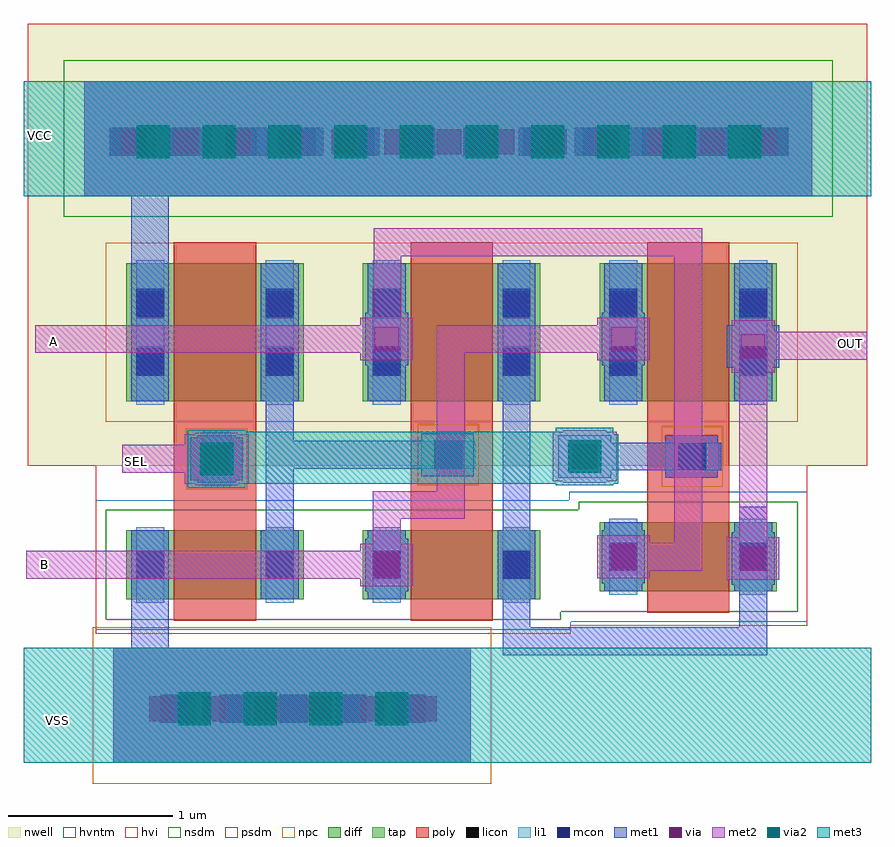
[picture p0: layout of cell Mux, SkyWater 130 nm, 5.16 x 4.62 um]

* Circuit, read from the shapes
.subckt Mux A B OUT SEL VCC VSS
XM1 n1 SEL VSS VSS sky130_fd_pr__nfet_g5v0d10v5 w=0.42 l=0.5
XM2 OUT n1 B VSS sky130_fd_pr__nfet_g5v0d10v5 w=0.42 l=0.5
XM3 OUT SEL A VSS sky130_fd_pr__nfet_g5v0d10v5 w=0.42 l=0.5
XM4 n1 SEL VCC VCC sky130_fd_pr__pfet_g5v0d10v5 w=0.84 l=0.5
XM5 OUT n1 A VCC sky130_fd_pr__pfet_g5v0d10v5 w=0.84 l=0.5
XM6 OUT SEL B VCC sky130_fd_pr__pfet_g5v0d10v5 w=0.84 l=0.5
.ends

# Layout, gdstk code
import gdstk
lib = gdstk.Library(unit=1e-6, precision=1e-09)
def R(c, l, rs):  # rectangles x0, y0, x1, y1
    for r in rs: c.add(gdstk.rectangle(r[:2], r[2:], *l))
def A(c, l, x, y, w, h, nx, ny, dx, dy):  # array of equal rectangles
    R(c, l, [(x+i*dx, y+j*dy, x+i*dx+w, y+j*dy+h) for i in range(nx) for j in range(ny)])
nwell = (64, 20)
diff = (65, 20)
tap = (65, 44)
poly = (66, 20)
licon = (66, 44)
li1 = (67, 20)
mcon = (67, 44)
met1 = (68, 20)
via = (68, 44)
met2 = (69, 20)
via2 = (69, 44)
met3 = (70, 20)
hvi = (75, 20)
nsdm = (93, 44)
psdm = (94, 20)
npc = (95, 20)
hvntm = (125, 20)

sky130_fd_pr__pfet_g5v0d = lib.new_cell('sky130_fd_pr__pfet_g5v0d10v5_AWMFT3')
R(sky130_fd_pr__pfet_g5v0d, nwell, [(-0.72,-0.73,0.72,0.73)])
R(sky130_fd_pr__pfet_g5v0d, diff, [(-0.54,-0.42,0.54,0.42)])
R(sky130_fd_pr__pfet_g5v0d, poly, [(-0.25,-0.55,0.25,0.55)])
R(sky130_fd_pr__pfet_g5v0d, licon, [(-0.48,-0.255,-0.31,-0.085), (0.31,-0.255,0.48,-0.085), (-0.48,0.085,-0.31,0.255), (0.31,0.085,0.48,0.255)])
R(sky130_fd_pr__pfet_g5v0d, li1, [(-0.48,-0.44,-0.31,0.44), (0.31,-0.44,0.48,0.44)])
R(sky130_fd_pr__pfet_g5v0d, mcon, [(-0.48,-0.265,-0.31,-0.095), (0.31,-0.265,0.48,-0.095), (-0.48,0.095,-0.31,0.265), (0.31,0.095,0.48,0.265)])
R(sky130_fd_pr__pfet_g5v0d, met1, [(-0.51,-0.42,-0.28,0.42), (0.28,-0.42,0.51,0.42)])
R(sky130_fd_pr__pfet_g5v0d, hvi, [(-0.72,-0.73,0.72,-0.605), (-0.725,-0.605,0.725,0.605), (-0.72,0.605,0.72,0.73)])
R(sky130_fd_pr__pfet_g5v0d, psdm, [(-0.665,-0.545,0.665,0.545)])

sky130_fd_pr__nfet_g5v0d = lib.new_cell('sky130_fd_pr__nfet_g5v0d10v5_NQZZCX')
R(sky130_fd_pr__nfet_g5v0d, diff, [(-0.54,-0.21,0.54,0.21)])
R(sky130_fd_pr__nfet_g5v0d, poly, [(-0.25,-0.34,0.25,0.34)])
R(sky130_fd_pr__nfet_g5v0d, licon, [(-0.48,-0.085,-0.31,0.085), (0.31,-0.085,0.48,0.085)])
R(sky130_fd_pr__nfet_g5v0d, li1, [(-0.48,-0.23,-0.31,0.23), (0.31,-0.23,0.48,0.23)])
R(sky130_fd_pr__nfet_g5v0d, mcon, [(-0.48,-0.085,-0.31,0.085), (0.31,-0.085,0.48,0.085)])
R(sky130_fd_pr__nfet_g5v0d, met1, [(-0.51,-0.21,-0.28,0.21), (0.28,-0.21,0.51,0.21)])
R(sky130_fd_pr__nfet_g5v0d, hvi, [(-0.725,-0.42,0.725,0.42)])
R(sky130_fd_pr__nfet_g5v0d, nsdm, [(-0.665,-0.335,0.665,0.335)])
R(sky130_fd_pr__nfet_g5v0d, hvntm, [(-0.725,-0.395,0.725,0.395)])

mux = lib.new_cell('Mux')
R(mux, nwell, [(38.775,25.825,43.885,26.48), (38.775,26.48,41.215,26.5), (41.555,26.48,43.885,26.73), (38.775,26.5,41.12,26.7), (38.775,26.7,41.215,26.73), (38.775,26.73,43.885,28.515)])
R(mux, tap, [(39.295,24.015,41.47,24.715), (39.12,27.465,43.55,28.165)])
R(mux, poly, [(39.665,25.41,40.165,26.145), (41.105,25.41,41.605,26.145), (42.545,25.46,43.045,26.145)])
A(mux, licon, 39.625, 24.26, 0.17, 0.17, 5, 1, 0.34, 0)
A(mux, licon, 39.385, 27.71, 0.17, 0.17, 12, 1, 0.34, 0)
R(mux, licon, [(39.84,25.78,40.01,25.95), (42.735,25.795,42.905,25.965), (41.25,25.805,41.42,25.975)])
R(mux, li1, [(39.295,24.015,41.47,24.715), (39.84,25.7,40.01,26.03), (42.655,25.795,42.985,25.965), (41.17,25.805,41.5,25.975), (39.12,27.465,43.55,28.165)])
A(mux, mcon, 39.585, 24.26, 0.17, 0.17, 5, 1, 0.36, 0)
A(mux, mcon, 39.275, 27.71, 0.17, 0.17, 12, 1, 0.36, 0)
R(mux, mcon, [(39.84,25.78,40.01,25.95), (42.735,25.795,42.905,25.965), (41.25,25.805,41.42,25.975)])
R(mux, met1, [(39.295,24.015,41.47,24.715), (41.665,24.67,43.275,24.84), (39.405,24.715,39.635,25.145), (41.665,24.84,41.835,26.42), (43.105,24.84,43.275,25.1), (40.875,25.055,41.045,25.06), (40.83,25.06,41.09,25.38), (43.06,25.1,43.32,25.42), (42.27,25.11,42.53,25.43), (40.225,25.245,40.395,25.805), (43.105,25.42,43.28,25.43), (42.315,25.43,42.485,25.47), (43.105,25.43,43.275,25.575), (39.81,25.72,40.04,25.735), (39.765,25.735,40.085,25.995), (42.005,25.75,42.325,25.795), (42.655,25.75,42.975,25.795), (41.17,25.76,41.49,25.805), (42.005,25.795,42.995,25.965), (40.225,25.805,41.49,25.975), (42.005,25.965,42.325,26.01), (42.655,25.965,42.975,26.01), (40.225,25.975,40.395,26.42), (41.17,25.975,41.49,26.02), (39.81,25.995,40.04,26.01), (40.875,26.37,41.045,26.435), (43.03,26.42,43.35,26.68), (40.83,26.435,41.09,26.755), (42.27,26.435,42.53,26.755), (42.315,26.755,42.485,26.82), (39.405,27.045,39.635,27.465), (39.12,27.465,43.55,28.165)])
A(mux, via, 39.515, 24.27, 0.15, 0.15, 6, 1, 0.32, 0)
A(mux, via, 39.345, 27.72, 0.15, 0.15, 13, 1, 0.32, 0)
R(mux, via, [(40.885,25.145,41.035,25.295), (43.115,25.185,43.265,25.335), (42.325,25.195,42.475,25.345), (39.85,25.79,40,25.94), (42.09,25.805,42.24,25.955), (43.115,26.475,43.265,26.625), (40.885,26.52,41.035,26.67), (42.325,26.52,42.475,26.67)])
R(mux, met2, [(39.295,24.015,41.47,24.715), (40.8,25.09,41.12,25.135), (43.03,25.13,43.35,25.39), (38.765,25.135,41.12,25.305), (42.24,25.14,42.56,25.185), (42.24,25.185,42.88,25.355), (40.8,25.305,41.12,25.35), (40.875,25.35,41.045,25.5), (42.24,25.355,42.56,25.4), (42.71,25.355,42.88,27.1), (43.105,25.39,43.275,26.39), (40.875,25.5,41.435,25.67), (41.265,25.67,41.435,26.51), (39.795,25.705,40.055,25.715), (39.73,25.715,40.12,25.78), (42.035,25.72,42.295,25.73), (41.97,25.73,42.36,26.03), (39.35,25.78,40.12,25.95), (39.73,25.95,40.12,26.015), (39.795,26.015,40.055,26.025), (42.035,26.03,42.295,26.04), (43.06,26.39,43.32,26.47), (40.8,26.465,41.12,26.51), (42.24,26.465,42.56,26.51), (43.06,26.47,43.885,26.64), (38.82,26.51,41.12,26.68), (41.265,26.51,42.56,26.68), (43.06,26.64,43.32,26.71), (40.8,26.68,41.12,26.725), (42.24,26.68,42.56,26.725), (40.88,26.725,41.05,27.1), (40.88,27.1,42.88,27.27), (39.12,27.465,43.55,28.165)])
A(mux, via2, 39.69, 24.245, 0.2, 0.2, 4, 1, 0.4, 0)
A(mux, via2, 39.44, 27.695, 0.2, 0.2, 10, 1, 0.4, 0)
R(mux, via2, [(39.825,25.765,40.025,25.965), (42.065,25.78,42.265,25.98)])
R(mux, met3, [(38.75,24.015,43.91,24.715), (39.75,25.69,40.1,25.715), (41.99,25.705,42.34,25.715), (39.75,25.715,42.37,26.015), (39.75,26.015,42.34,26.03), (39.75,26.03,40.1,26.04), (41.99,26.03,42.34,26.055), (38.75,27.465,43.91,28.165)])
R(mux, hvi, [(39.19,25.64,42.07,25.69), (39.19,25.69,43.52,25.825), (38.775,25.825,43.885,28.515)])
R(mux, nsdm, [(40.58,24.885,40.69,25.555), (42.02,24.935,42.13,25.555), (38.995,27.34,43.675,28.29)])
R(mux, psdm, [(39.17,23.89,41.595,24.84), (40.58,26.09,40.69,27.18), (42.02,26.09,42.13,27.18)])
R(mux, npc, [(39.74,25.68,40.11,26.05), (42.635,25.695,43.005,26.065), (41.15,25.705,41.52,26.075)])
mux.add(gdstk.Reference(sky130_fd_pr__pfet_g5v0d, (41.355,26.635)))
mux.add(gdstk.Reference(sky130_fd_pr__pfet_g5v0d, (42.795,26.635)))
mux.add(gdstk.Reference(sky130_fd_pr__pfet_g5v0d, (39.915,26.635)))
mux.add(gdstk.Reference(sky130_fd_pr__nfet_g5v0d, (42.795,25.27)))
mux.add(gdstk.Reference(sky130_fd_pr__nfet_g5v0d, (39.915,25.22)))
mux.add(gdstk.Reference(sky130_fd_pr__nfet_g5v0d, (41.355,25.22)))
mux.add(gdstk.Label('VCC', (38.845,27.835), layer=70, texttype=5))
mux.add(gdstk.Label('VSS', (38.955,24.275), layer=70, texttype=5))
mux.add(gdstk.Label('OUT', (43.78,26.57), layer=69, texttype=5))
mux.add(gdstk.Label('SEL', (39.44,25.85), layer=69, texttype=5))
mux.add(gdstk.Label('A', (38.93,26.58), layer=69, texttype=5))
mux.add(gdstk.Label('B', (38.875,25.22), layer=69, texttype=5))

lib.write_gds('Mux.gds')
